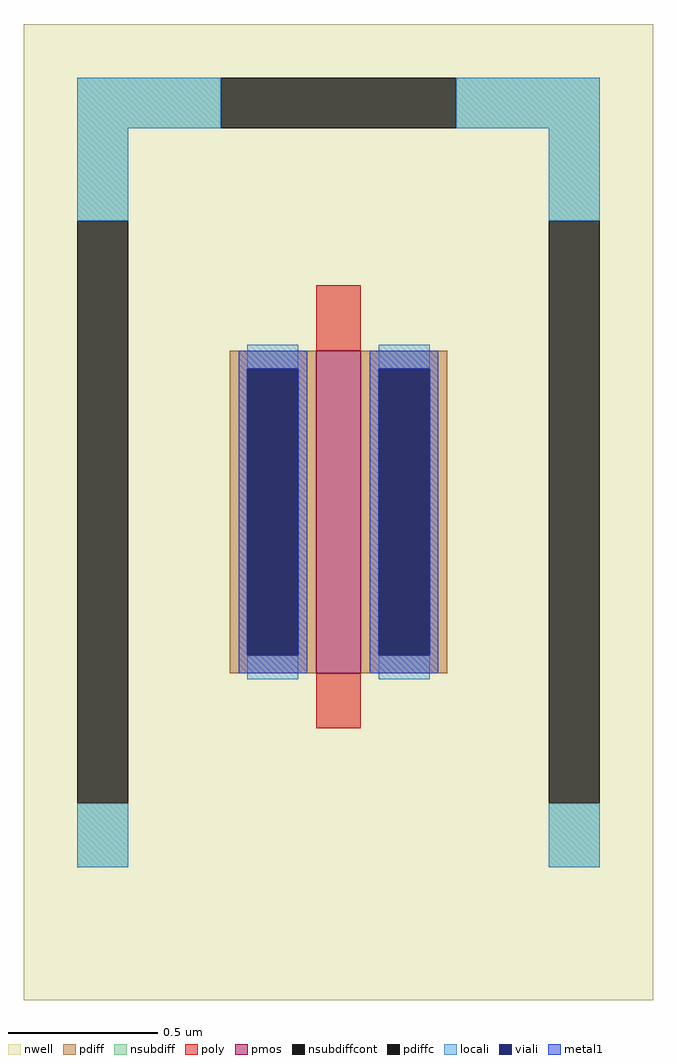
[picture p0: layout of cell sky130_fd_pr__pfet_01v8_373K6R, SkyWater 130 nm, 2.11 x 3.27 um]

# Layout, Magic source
magic
tech sky130A
magscale 1 2
<< nwell >>
rect -211 -327 211 327
<< pmos >>
rect -15 -108 15 108
<< pdiff >>
rect -73 96 -15 108
rect -73 -96 -61 96
rect -27 -96 -15 96
rect -73 -108 -15 -96
rect 15 96 73 108
rect 15 -96 27 96
rect 61 -96 73 96
rect 15 -108 73 -96
<< pdiffc >>
rect -61 -96 -27 96
rect 27 -96 61 96
<< nsubdiff >>
rect -175 257 -79 291
rect 79 257 175 291
rect -175 195 -141 257
rect 141 195 175 257
rect -175 -238 -141 -195
rect 141 -238 175 -195
<< nsubdiffcont >>
rect -79 257 79 291
rect -175 -195 -141 195
rect 141 -195 175 195
<< poly >>
rect -15 108 15 152
rect -15 -145 15 -108
<< locali >>
rect -175 257 -79 291
rect 79 257 175 291
rect -175 195 -141 257
rect 141 195 175 257
rect -61 96 -27 112
rect -61 -112 -27 -96
rect 27 96 61 112
rect 27 -112 61 -96
rect -175 -238 -141 -195
rect 141 -238 175 -195
<< viali >>
rect -61 -96 -27 96
rect 27 -96 61 96
<< metal1 >>
rect -67 96 -21 108
rect -67 -96 -61 96
rect -27 -96 -21 96
rect -67 -108 -21 -96
rect 21 96 67 108
rect 21 -96 27 96
rect 61 -96 67 96
rect 21 -108 67 -96
<< properties >>
string gencell sky130_fd_pr__pfet_01v8
string FIXED_BBOX -158 -274 158 274
string parameters w 1.08 l 0.15 m 1 nf 1 diffcov 100 polycov 100 guard 1 glc 1 grc 1 gtc 1 gbc 1 tbcov 100 rlcov 100 topc 1 botc 1 poverlap 0 doverlap 1 lmin 0.15 wmin 0.42 compatible {sky130_fd_pr__pfet_01v8  sky130_fd_pr__pfet_01v8_lvt sky130_fd_pr__pfet_01v8_hvt  sky130_fd_pr__pfet_g5v0d10v5} full_metal 1 viagl 0 viagr 0 viagt 0 viagb 0 viagate 100 viadrn 100 viasrc 100
string library sky130
<< end >>
